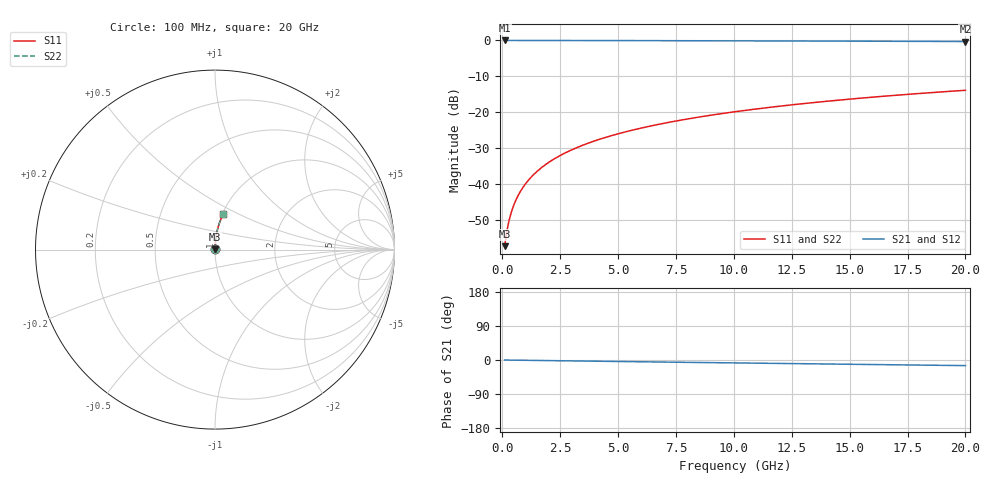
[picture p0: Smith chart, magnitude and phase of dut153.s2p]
! Touchstone file exported from HFSS 2024.1.0
!  File:  C:/UserFiles/LocalFiles/RDL_TSV_Batchsim/temp_RDL_top_153_1778685173.aedt
!  Generated:  11:15:14 PM May 13, 2026
!  Design:  RDL_top
!  Project:  temp_RDL_top_153_1778685173
!  Setup:  Setup1
!  Solution:  Sweep
! Variables:
!  dtsv = 10.80580581um
!  hbump = 3um
!  htsv = 83.15um
!  ldown = 100um
!  lrdl = 136.04um
!  p = 40
!  p1 = 59.46um
!  rhole = 1um
!  t = 450um
!  tdown = 3.915915916um
!  trdl = 4.64um
!  wdown = 15.38538539um
!  wrdl = 13.18um
# GHz S MA R 50.000000
! Terminal data exported
! Port[1] = Box2_T1
! Port[2] = Box2_T2
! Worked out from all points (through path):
!   200 points, 100 MHz to 20 GHz, reference 50 ohm
!   highest |S21| = -0.01 dB at 100 MHz (marker M1); lowest = -0.3 dB at 20 GHz (marker M2)
!   group delay of S21, straight-line fit = 2.05 ps
!   lowest |S11| = -57.2 dB at 100 MHz (marker M3), VSWR 1.00, Z = 50.1 + j0.103 ohm
!   |S11| at or under -10 dB: start of sweep to end of sweep
!   |S22| runs from -57.2 to -13.9 dB; largest |S21 - S12| = 2.1e-15
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0.1  0.001376 48.4  0.9991 -0.1  0.9991 -0.1  0.001376 48.4
! Gamma 0 0 0 0
! Port Impedance 50 0 50 0
0.2  0.002253 65.5  0.9991 -0.2  0.9991 -0.2  0.002253 65.5
0.3  0.003207 72.6  0.999 -0.2  0.999 -0.2  0.003207 72.6
0.4  0.00418 76.4  0.999 -0.3  0.999 -0.3  0.00418 76.4
0.5  0.005161 78.8  0.999 -0.4  0.999 -0.4  0.005161 78.8
0.7  0.007132 81.6  0.9989 -0.6  0.9989 -0.6  0.007132 81.6
0.8  0.008122 82.5  0.9989 -0.6  0.9989 -0.6  0.008122 82.5
1  0.01011 83.7  0.9988 -0.8  0.9988 -0.8  0.01011 83.7
1.2  0.0121 84.6  0.9987 -1.0  0.9987 -1.0  0.0121 84.6
1.4  0.01409 85.1  0.9986 -1.1  0.9986 -1.1  0.01409 85.1
1.7  0.01708 85.7  0.9985 -1.4  0.9985 -1.4  0.01708 85.7
2  0.02008 86.0  0.9983 -1.6  0.9983 -1.6  0.02008 86.1
2.7  0.0271 86.4  0.9977 -2.2  0.9977 -2.2  0.0271 86.4
3.5  0.03513 86.5  0.9969 -2.8  0.9969 -2.8  0.03513 86.5
4.2  0.04219 86.4  0.9961 -3.3  0.9961 -3.3  0.04219 86.4
5  0.05028 86.2  0.9951 -4.0  0.9951 -4.0  0.05028 86.2
6.8  0.06859 85.5  0.9924 -5.3  0.9924 -5.3  0.06859 85.5
8.3  0.08394 84.7  0.99 -6.5  0.99 -6.5  0.08394 84.7
10.1  0.1024 83.6  0.9868 -7.8  0.9868 -7.8  0.1024 83.6
13.4  0.1363 81.4  0.9805 -10.2  0.9805 -10.2  0.1363 81.5
16.7  0.1698 79.1  0.9736 -12.5  0.9736 -12.5  0.1698 79.1
20  0.2026 76.7  0.966 -14.8  0.966 -14.8  0.2026 76.8
